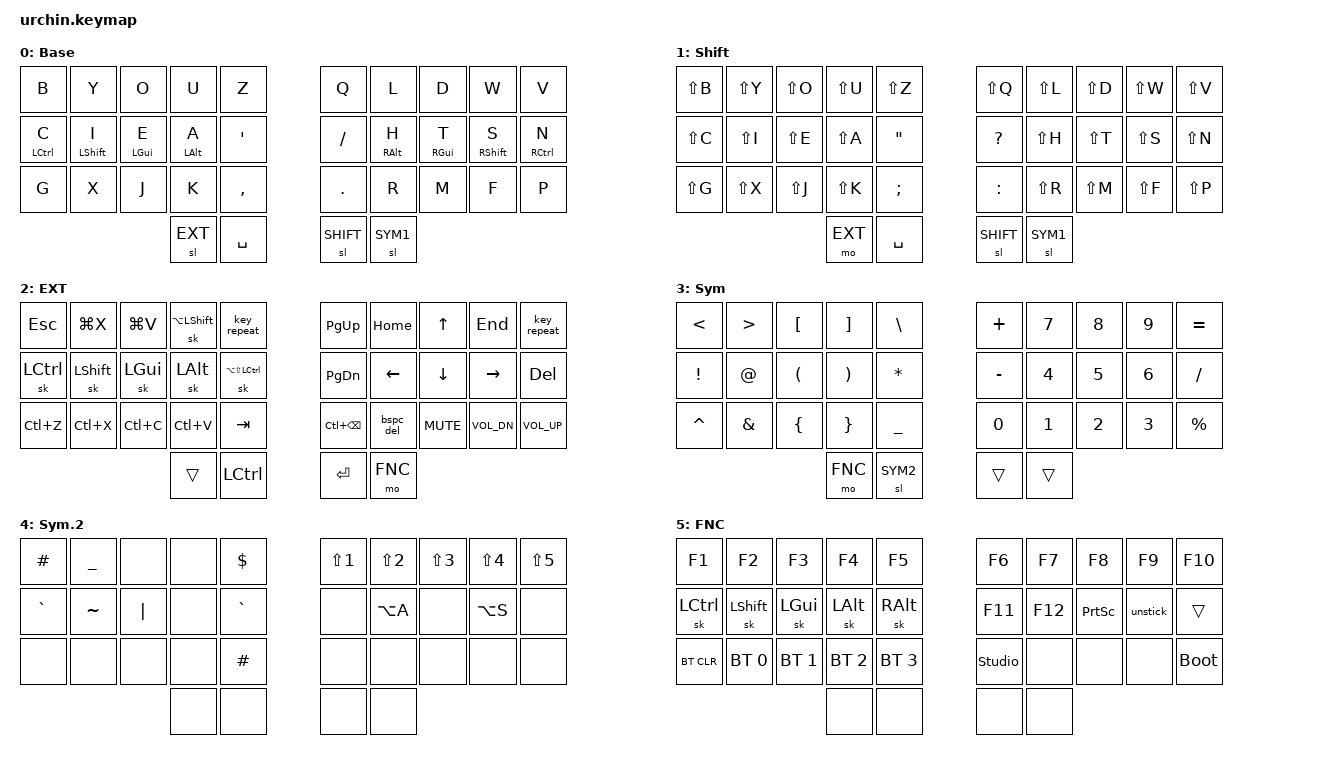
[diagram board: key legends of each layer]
#include <behaviors.dtsi>
#include <dt-bindings/zmk/keys.h>
#include <dt-bindings/zmk/bt.h>
#include <dt-bindings/zmk/outputs.h>

// Layer definitions
#define BASE 0
#define SHIFT 1
#define EXT 2
#define SYM1 3
#define SYM2 4
#define FNC 5
// -----------------

&sk {
    // don't release mods on other mods presses
    ignore-modifiers;
    // release the sticky key if pressed again (cancels the stickiness)
    quick-release;
};

/ {
    behaviors {
        // Enables holding the first mod-tap key
        // by performing a tap-release-hold sequence.
        qt: quick_tap {
            compatible = "zmk,behavior-hold-tap";
            label = "QUICK_TAP";
            #binding-cells = <2>;
            flavor = "hold-preferred";
            tapping-term-ms = <200>;
            quick-tap-ms = <200>;
            bindings = <&kp>, <&kp>;
        };

        // Homerow Mods - UPGRADED
        // Uses "balanced" flavor + require-prior-idle-ms for better rolling
        hm: homerow_mods {
            compatible = "zmk,behavior-hold-tap";
            label = "HOMEROW_MODS";
            #binding-cells = <2>;
            tapping-term-ms = <200>;
            quick-tap-ms = <200>;
            require-prior-idle-ms = <125>; // Requires 125ms of silence before mod activates
            flavor = "balanced";           // Balanced flavor works best with prior-idle
            bindings = <&kp>, <&kp>;
        };

        // Mod-Morph: Backspace on tap, Delete on Shift+Tap
        bspc_del: backspace_delete {
            compatible = "zmk,behavior-mod-morph";
            label = "BACKSPACE_DELETE";
            #binding-cells = <0>;
            bindings = <&kp BSPC>, <&kp DEL>;
            mods = <(MOD_LSFT|MOD_RSFT)>;
        };
    };

    macros {
        // sometimes my device thinks a modifier is being held down
        // pressing all modifiers fixes it.
        unstick: unstick {
            label = "ZM_unstick";
            compatible = "zmk,behavior-macro";
            #binding-cells = <0>;
            bindings = <&kp LSHIFT &kp RSHIFT &kp LCTRL &kp RCTRL &kp LALT &kp RALT &kp LGUI &kp RGUI>;
        };
    };

    combos {
        compatible = "zmk,combos";
        
        // internal-left & external-right thumb keys
        combo_sym2 {
            timeout-ms = <200>;
            key-positions = <31 33>;
            bindings = <&mo SYM2>;
        };

        // Smart Caps Word: Triggered by pressing A (13) and H (16)
        combo_caps_word {
            timeout-ms = <50>;
            key-positions = <13 16>;
            bindings = <&caps_word>;
        };
    };

    keymap {
        compatible = "zmk,keymap";

        // Base alpha layer
        default_layer {
            label = "Base";
            bindings = <
                &kp B        &kp Y         &kp O        &kp U        &kp Z          &kp Q          &kp L        &kp D         &kp W               &kp V
                &hm LCTRL C  &hm LSHIFT I  &hm LGUI E   &hm LALT A   &kp SQT        &kp FSLH       &hm RALT H   &hm RGUI T    &hm RSHIFT S        &hm RCTRL N
                &kp G        &kp X         &kp J        &kp K        &kp COMMA      &kp DOT        &kp R        &kp M         &kp F               &kp P
                                                        &sl EXT      &kp SPACE      &sl SHIFT      &sl SYM1
            >;
        };

        // Base layer shifted
        shift_layer {
            label = "Shift";
            bindings = <
                &kp LS(B)    &kp LS(Y)     &kp LS(O)    &kp LS(U)    &kp LS(Z)      &kp LS(Q)      &kp LS(L)    &kp LS(D)     &kp LS(W)           &kp LS(V)
                &kp LS(C)    &kp LS(I)     &kp LS(E)    &kp LS(A)    &kp DQT        &kp QMARK      &kp LS(H)    &kp LS(T)     &kp LS(S)           &kp LS(N)
                &kp LS(G)    &kp LS(X)     &kp LS(J)    &kp LS(K)    &kp SEMI       &kp COLON      &kp LS(R)    &kp LS(M)     &kp LS(F)           &kp LS(P)
                                                        &mo EXT      &kp SPACE      &sl SHIFT      &sl SYM1
            >;
        };

        // Main modifiers and arrow keys
        ext_layer {
            label = "EXT";
            bindings = <
                &kp ESC      &kp LG(X)     &kp LG(V)    &sk LA(LSHIFT) &key_repeat        &kp PG_UP    &kp HOME     &kp UP        &kp END          &key_repeat
                &sk LCTRL    &sk LSHIFT    &sk LGUI     &sk LALT       &sk LA(LS(LCTRL))  &kp PG_DN    &kp LEFT     &kp DOWN      &kp RIGHT        &kp DEL
                &kp LC(Z)    &kp LC(X)     &kp LC(C)    &kp LC(V)      &kp TAB            &kp LC(BSPC) &bspc_del    &kp C_MUTE    &kp C_VOL_DN     &kp C_VOL_UP
                                                        &trans         &kp LCTRL          &kp ENTER    &mo FNC
            >;
        };

        // Numbers and symbols
        sym1_layer {
            label = "Sym";
            bindings = <
                &kp LESS_THAN   &kp GREATER_THAN &kp LEFT_BRACKET &kp RIGHT_BRACKET &kp BACKSLASH  &kp PLUS     &kp N7       &kp N8        &kp N9           &kp EQUAL
                &kp EXCLAMATION &kp AT           &kp LPAR         &kp RPAR          &kp STAR       &kp MINUS    &kp N4       &kp N5        &kp N6           &kp SLASH
                &kp CARET       &kp AMPERSAND    &kp LEFT_BRACE   &kp RIGHT_BRACE   &kp UNDERSCORE &kp N0       &kp N1       &kp N2        &kp N3           &kp PRCNT
                                                                  &mo FNC           &sl SYM2       &trans       &trans
            >;
        };

        // Low frequency symbols.
        sym2_layer {
            label = "Sym.2";
            bindings = <
                &kp HASH     &kp UNDERSCORE &none        &none        &kp DOLLAR     &kp LS(1)    &kp LS(2)    &kp LS(3)     &kp LS(4)           &kp LS(5)
                &kp GRAVE    &kp TILDE      &kp PIPE     &none        &kp GRAVE      &none        &kp LA(A)    &none         &kp LA(S)           &none
                &none        &none          &none        &none        &kp HASH       &none        &none        &none         &none               &none
                                                         &none        &none          &none        &none
            >;
        };

        // Function keys with modifiers
        fnc_layer {
            label = "FNC";
            bindings = <
                &kp F1       &kp F2         &kp F3       &kp F4       &kp F5         &kp F6       &kp F7       &kp F8        &kp F9              &kp F10
                &sk LCTRL    &sk LSHIFT     &sk LGUI     &sk LALT     &sk RALT       &kp F11      &kp F12      &kp PRINTSCREEN &unstick          &trans
                &bt BT_CLR   &bt BT_SEL 0   &bt BT_SEL 1 &bt BT_SEL 2 &bt BT_SEL 3   &studio_unlock &none      &none         &none               &bootloader
                                                         &none        &none          &none        &none
            >;
        };
    };
};
